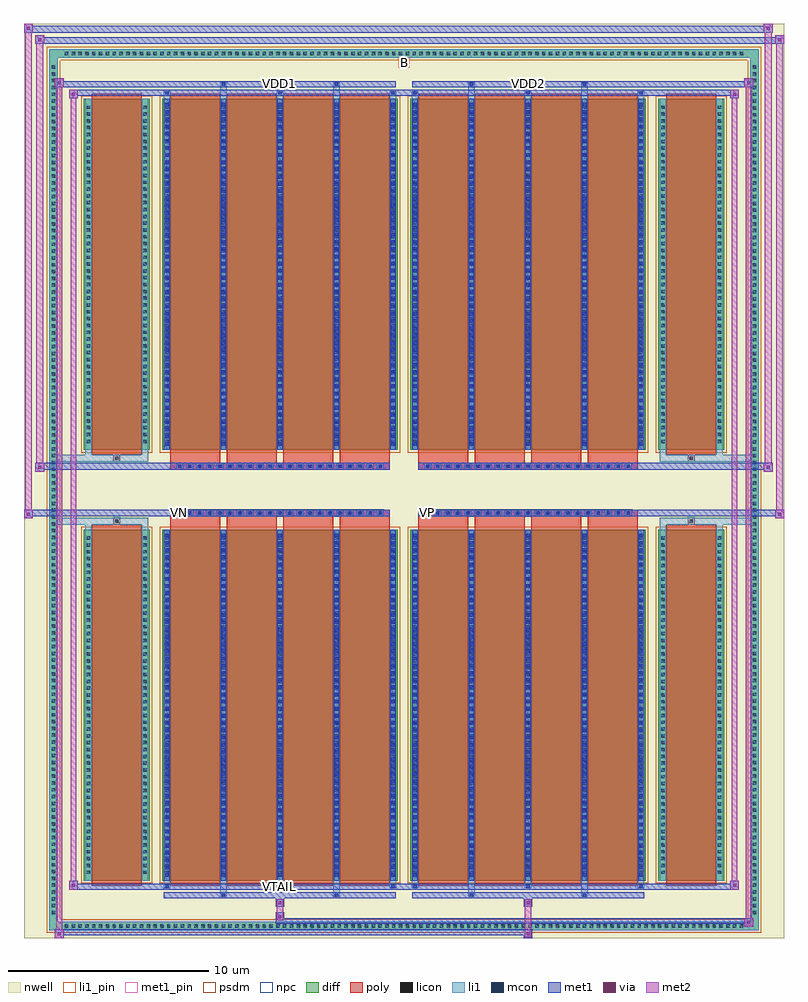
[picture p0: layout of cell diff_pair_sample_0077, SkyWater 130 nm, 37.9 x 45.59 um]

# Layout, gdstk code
import gdstk
lib = gdstk.Library(unit=1e-6, precision=5e-09)
def R(c, l, rs):  # rectangles x0, y0, x1, y1
    for r in rs: c.add(gdstk.rectangle(r[:2], r[2:], *l))
def A(c, l, x, y, w, h, nx, ny, dx, dy):  # array of equal rectangles
    R(c, l, [(x+i*dx, y+j*dy, x+i*dx+w, y+j*dy+h) for i in range(nx) for j in range(ny)])
def P(c, l, *ps):  # polygons
    for p in ps: c.add(gdstk.Polygon(p, *l))
nwell = (64, 20)
diff = (65, 20)
poly = (66, 20)
licon = (66, 44)
li1_pin = (67, 16)
li1 = (67, 20)
mcon = (67, 44)
met1_pin = (68, 16)
met1 = (68, 20)
via = (68, 44)
met2 = (69, 20)
psdm = (94, 20)
npc = (95, 20)

diff_pair_sample_0077 = lib.new_cell('diff_pair_sample_0077')
R(diff_pair_sample_0077, nwell, [(-18.95,-22.36,18.95,23.23), (-16.27,-20.55,-0.01,-0.805), (0.01,-20.55,16.27,-0.805), (-16.27,0.805,-0.01,20.55), (0.01,0.805,16.27,20.55)])
A(diff_pair_sample_0077, diff, -17.035, -21.96, 0.41, 0.41, 100, 2, 0.34, 43.51)
A(diff_pair_sample_0077, diff, -17.68, -21.285, 0.41, 0.41, 1, 125, 0, 0.34)
A(diff_pair_sample_0077, diff, 17.27, -21.285, 0.41, 0.41, 1, 125, 0, 0.34)
R(diff_pair_sample_0077, diff, [(-17.035,-21.96,17.035,-21.55), (-17.68,-21.285,-17.27,21.285), (17.27,-21.285,17.68,21.285), (-15.96,-19.505,-12.69,-1.985), (-12.05,-19.505,-0.32,-1.985), (0.32,-19.505,12.05,-1.985), (12.69,-19.505,15.96,-1.985), (-15.96,1.985,-12.69,19.505), (-12.05,1.985,-0.32,19.505), (0.32,1.985,12.05,19.505), (12.69,1.985,15.96,19.505), (-17.035,21.55,17.035,21.96)])
P(diff_pair_sample_0077, diff, [(17.68,21.96),(-17.68,21.96),(-17.68,-21.55),(-17.27,-21.55),(-17.27,21.55),(17.27,21.55),(17.27,-21.55),(-17.27,-21.55),(-17.68,-21.55),(-17.68,-21.96),(17.68,-21.96)])
A(diff_pair_sample_0077, poly, -11.66, -19.755, 2.49, 18.02, 4, 2, 2.82, 21.49)
A(diff_pair_sample_0077, poly, 0.71, -19.755, 2.49, 18.02, 4, 2, 2.82, 21.49)
A(diff_pair_sample_0077, poly, -11.66, -1.735, 2.49, 0.4, 4, 2, 2.82, 3.07)
A(diff_pair_sample_0077, poly, 0.71, -1.735, 2.49, 0.4, 4, 2, 2.82, 3.07)
A(diff_pair_sample_0077, poly, -11.35, -1.335, 0.33, 0.33, 21, 2, 0.5, 2.34)
A(diff_pair_sample_0077, poly, 1.02, -1.335, 0.33, 0.33, 21, 2, 0.5, 2.34)
R(diff_pair_sample_0077, poly, [(-15.57,-19.755,-13.08,-1.735), (13.08,-19.755,15.57,-1.735), (-14.49,-1.735,-14.16,-1.405), (-14.49,-1.735,-14.16,-1.405), (14.16,-1.735,14.49,-1.405), (14.16,-1.735,14.49,-1.405), (-11.66,-1.335,-0.71,-1.005), (0.71,-1.335,11.66,-1.005), (-11.66,1.005,-0.71,1.335), (0.71,1.005,11.66,1.335), (-14.49,1.405,-14.16,1.735), (-14.49,1.405,-14.16,1.735), (14.16,1.405,14.49,1.735), (14.16,1.405,14.49,1.735), (-15.57,1.735,-13.08,19.755), (13.08,1.735,15.57,19.755)])
A(diff_pair_sample_0077, licon, -16.915, -21.84, 0.17, 0.17, 100, 2, 0.34, 43.51)
A(diff_pair_sample_0077, licon, -17.56, -21.165, 0.17, 0.17, 1, 125, 0, 0.34)
A(diff_pair_sample_0077, licon, 17.39, -21.165, 0.17, 0.17, 1, 125, 0, 0.34)
A(diff_pair_sample_0077, licon, -15.82, -19.16, 0.17, 0.17, 1, 50, 0, 0.34)
A(diff_pair_sample_0077, licon, -13, -19.16, 0.17, 0.17, 1, 50, 0, 0.34)
A(diff_pair_sample_0077, licon, -11.91, -19.16, 0.17, 0.17, 5, 50, 2.82, 0.34)
A(diff_pair_sample_0077, licon, 0.46, -19.16, 0.17, 0.17, 5, 50, 2.82, 0.34)
A(diff_pair_sample_0077, licon, 12.83, -19.16, 0.17, 0.17, 1, 50, 0, 0.34)
A(diff_pair_sample_0077, licon, 15.65, -19.16, 0.17, 0.17, 1, 50, 0, 0.34)
A(diff_pair_sample_0077, licon, -11.27, -1.255, 0.17, 0.17, 21, 2, 0.5, 2.34)
A(diff_pair_sample_0077, licon, 1.1, -1.255, 0.17, 0.17, 21, 2, 0.5, 2.34)
A(diff_pair_sample_0077, licon, -15.82, 2.33, 0.17, 0.17, 1, 50, 0, 0.34)
A(diff_pair_sample_0077, licon, -13, 2.33, 0.17, 0.17, 1, 50, 0, 0.34)
A(diff_pair_sample_0077, licon, -11.91, 2.33, 0.17, 0.17, 5, 50, 2.82, 0.34)
A(diff_pair_sample_0077, licon, 0.46, 2.33, 0.17, 0.17, 5, 50, 2.82, 0.34)
A(diff_pair_sample_0077, licon, 12.83, 2.33, 0.17, 0.17, 1, 50, 0, 0.34)
A(diff_pair_sample_0077, licon, 15.65, 2.33, 0.17, 0.17, 1, 50, 0, 0.34)
R(diff_pair_sample_0077, licon, [(-14.41,-1.655,-14.24,-1.485), (14.24,-1.655,14.41,-1.485), (-14.41,1.485,-14.24,1.655), (14.24,1.485,14.41,1.655)])
R(diff_pair_sample_0077, li1_pin, [(-0.25,21.05,0.25,21.55)])
A(diff_pair_sample_0077, li1, -16.995, -21.92, 0.33, 0.33, 100, 2, 0.34, 43.51)
A(diff_pair_sample_0077, li1, -17.64, -21.245, 0.33, 0.33, 1, 125, 0, 0.34)
A(diff_pair_sample_0077, li1, 17.31, -21.245, 0.33, 0.33, 1, 125, 0, 0.34)
A(diff_pair_sample_0077, li1, -11.99, -19.88, 0.33, 0.375, 3, 2, 5.64, 39.385)
A(diff_pair_sample_0077, li1, -11.91, -19.88, 0.17, 0.17, 3, 2, 5.64, 39.59)
A(diff_pair_sample_0077, li1, 0.38, -19.88, 0.33, 0.375, 3, 2, 5.64, 39.385)
A(diff_pair_sample_0077, li1, 0.46, -19.88, 0.17, 0.17, 3, 2, 5.64, 39.59)
A(diff_pair_sample_0077, li1, -11.99, -19.505, 0.33, 17.52, 5, 2, 2.82, 21.49)
A(diff_pair_sample_0077, li1, 0.38, -19.505, 0.33, 17.52, 5, 2, 2.82, 21.49)
A(diff_pair_sample_0077, li1, -11.91, -19.29, 0.17, 0.17, 5, 48, 2.82, 0.36)
A(diff_pair_sample_0077, li1, -11.91, -19.29, 0.17, 17.09, 5, 2, 2.82, 21.49)
A(diff_pair_sample_0077, li1, 0.46, -19.29, 0.17, 0.17, 5, 48, 2.82, 0.36)
A(diff_pair_sample_0077, li1, 0.46, -19.29, 0.17, 17.09, 5, 2, 2.82, 21.49)
A(diff_pair_sample_0077, li1, -15.9, -19.24, 0.33, 0.33, 1, 50, 0, 0.34)
A(diff_pair_sample_0077, li1, -13.08, -19.24, 0.33, 0.33, 1, 50, 0, 0.34)
A(diff_pair_sample_0077, li1, -11.99, -19.24, 0.33, 0.33, 5, 50, 2.82, 0.34)
A(diff_pair_sample_0077, li1, 0.38, -19.24, 0.33, 0.33, 5, 50, 2.82, 0.34)
A(diff_pair_sample_0077, li1, 12.75, -19.24, 0.33, 0.33, 1, 50, 0, 0.34)
A(diff_pair_sample_0077, li1, 15.57, -19.24, 0.33, 0.33, 1, 50, 0, 0.34)
A(diff_pair_sample_0077, li1, -11.35, -1.335, 0.33, 0.33, 21, 2, 0.5, 2.34)
A(diff_pair_sample_0077, li1, 1.02, -1.335, 0.33, 0.33, 21, 2, 0.5, 2.34)
A(diff_pair_sample_0077, li1, -11.91, 2.2, 0.17, 0.17, 5, 48, 2.82, 0.36)
A(diff_pair_sample_0077, li1, 0.46, 2.2, 0.17, 0.17, 5, 48, 2.82, 0.36)
A(diff_pair_sample_0077, li1, -15.9, 2.25, 0.33, 0.33, 1, 50, 0, 0.34)
A(diff_pair_sample_0077, li1, -13.08, 2.25, 0.33, 0.33, 1, 50, 0, 0.34)
A(diff_pair_sample_0077, li1, -11.99, 2.25, 0.33, 0.33, 5, 50, 2.82, 0.34)
A(diff_pair_sample_0077, li1, 0.38, 2.25, 0.33, 0.33, 5, 50, 2.82, 0.34)
A(diff_pair_sample_0077, li1, 12.75, 2.25, 0.33, 0.33, 1, 50, 0, 0.34)
A(diff_pair_sample_0077, li1, 15.57, 2.25, 0.33, 0.33, 1, 50, 0, 0.34)
R(diff_pair_sample_0077, li1, [(-17.68,-21.96,-17.27,-21.55), (-17.68,-21.96,-17.27,-21.55), (-17.27,-21.96,17.27,-21.55), (17.27,-21.96,17.68,-21.55), (17.27,-21.96,17.68,-21.55), (-17.68,-21.55,-17.27,21.55), (17.27,-21.55,17.68,21.55), (-9.17,-20.31,-8.84,-19.505), (-9.09,-20.31,-8.92,-20.14), (-3.53,-20.31,-3.2,-19.505), (-3.45,-20.31,-3.28,-20.14), (3.2,-20.31,3.53,-19.505), (3.28,-20.31,3.45,-20.14), (8.84,-20.31,9.17,-19.505), (8.92,-20.31,9.09,-20.14), (-15.9,-19.505,-15.57,-1.985), (-13.08,-19.505,-12.75,-1.985), (12.75,-19.505,13.08,-1.985), (15.57,-19.505,15.9,-1.985), (-15.9,-1.985,-15.57,-1.405), (-13.08,-1.985,-12.75,-1.405), (12.75,-1.985,13.08,-1.405), (15.57,-1.985,15.9,-1.405), (-17.68,-1.735,-14.49,-1.405), (-15.9,-1.735,-14.49,-1.405), (-14.49,-1.735,-14.16,-1.405), (-14.16,-1.735,-12.75,-1.405), (12.75,-1.735,14.16,-1.405), (14.16,-1.735,14.49,-1.405), (14.16,-1.735,17.68,-1.405), (14.49,-1.735,15.9,-1.405), (-17.68,1.405,-14.49,1.735), (-15.9,1.405,-14.49,1.735), (-15.9,1.405,-15.57,1.985), (-14.49,1.405,-14.16,1.735), (-14.16,1.405,-12.75,1.735), (-13.08,1.405,-12.75,1.985), (12.75,1.405,14.16,1.735), (12.75,1.405,13.08,1.985), (14.16,1.405,14.49,1.735), (14.16,1.405,17.68,1.735), (14.49,1.405,15.9,1.735), (15.57,1.405,15.9,1.985), (-15.9,1.985,-15.57,19.505), (-13.08,1.985,-12.75,19.505), (12.75,1.985,13.08,19.505), (15.57,1.985,15.9,19.505), (-9.17,19.505,-8.84,20.31), (-3.53,19.505,-3.2,20.31), (3.2,19.505,3.53,20.31), (8.84,19.505,9.17,20.31), (-9.09,20.14,-8.92,20.31), (-3.45,20.14,-3.28,20.31), (3.28,20.14,3.45,20.31), (8.92,20.14,9.09,20.31), (-17.68,21.55,-17.27,21.96), (-17.68,21.55,-17.27,21.96), (-17.27,21.55,17.27,21.96), (17.27,21.55,17.68,21.96), (17.27,21.55,17.68,21.96)])
A(diff_pair_sample_0077, mcon, -11.91, -19.88, 0.17, 0.17, 3, 2, 5.64, 39.59)
A(diff_pair_sample_0077, mcon, 0.46, -19.88, 0.17, 0.17, 3, 2, 5.64, 39.59)
A(diff_pair_sample_0077, mcon, -11.91, -19.29, 0.17, 0.17, 5, 48, 2.82, 0.36)
A(diff_pair_sample_0077, mcon, 0.46, -19.29, 0.17, 0.17, 5, 48, 2.82, 0.36)
A(diff_pair_sample_0077, mcon, -11.27, -1.255, 0.17, 0.17, 21, 2, 0.5, 2.34)
A(diff_pair_sample_0077, mcon, 1.1, -1.255, 0.17, 0.17, 21, 2, 0.5, 2.34)
A(diff_pair_sample_0077, mcon, -11.91, 2.2, 0.17, 0.17, 5, 48, 2.82, 0.36)
A(diff_pair_sample_0077, mcon, 0.46, 2.2, 0.17, 0.17, 5, 48, 2.82, 0.36)
R(diff_pair_sample_0077, mcon, [(-9.09,-20.31,-8.92,-20.14), (-3.45,-20.31,-3.28,-20.14), (3.28,-20.31,3.45,-20.14), (8.92,-20.31,9.09,-20.14), (-9.09,20.14,-8.92,20.31), (-3.45,20.14,-3.28,20.31), (3.28,20.14,3.45,20.31), (8.92,20.14,9.09,20.31)])
R(diff_pair_sample_0077, met1_pin, [(-6.32,-19.92,-6.05,-19.65), (-11.32,-1.295,-11.05,-1.025), (1.05,-1.295,1.32,-1.025), (-6.32,20.1,-6.05,20.37), (6.05,20.1,6.32,20.37)])
A(diff_pair_sample_0077, met1, -11.97, -19.94, 0.29, 0.29, 3, 2, 5.64, 39.59)
A(diff_pair_sample_0077, met1, 0.4, -19.94, 0.29, 0.29, 3, 2, 5.64, 39.59)
A(diff_pair_sample_0077, met1, -11.97, -19.505, 0.29, 17.52, 5, 2, 2.82, 21.49)
A(diff_pair_sample_0077, met1, 0.4, -19.505, 0.29, 17.52, 5, 2, 2.82, 21.49)
A(diff_pair_sample_0077, met1, -11.97, -19.35, 0.29, 0.29, 5, 48, 2.82, 0.36)
A(diff_pair_sample_0077, met1, 0.4, -19.35, 0.29, 0.29, 5, 48, 2.82, 0.36)
A(diff_pair_sample_0077, met1, -11.33, -1.315, 0.29, 0.29, 21, 2, 0.5, 2.34)
A(diff_pair_sample_0077, met1, 1.04, -1.315, 0.29, 0.29, 21, 2, 0.5, 2.34)
A(diff_pair_sample_0077, met1, -11.97, 2.14, 0.29, 0.29, 5, 48, 2.82, 0.36)
A(diff_pair_sample_0077, met1, 0.4, 2.14, 0.29, 0.29, 5, 48, 2.82, 0.36)
R(diff_pair_sample_0077, met1, [(-17.41,-22.36,-16.98,-21.93), (5.97,-22.36,6.4,-21.93), (-17.41,-22.22,6.4,-21.93), (16.98,-21.79,17.41,-21.36), (-6.4,-21.65,17.41,-21.36), (-6.4,-21.51,-5.97,-21.08), (-6.4,-20.8,-5.97,-20.37), (5.97,-20.8,6.4,-20.37), (-11.97,-20.37,-0.4,-20.08), (-9.15,-20.37,-8.86,-20.08), (-3.51,-20.37,-3.22,-20.08), (0.4,-20.37,11.97,-20.08), (3.22,-20.37,3.51,-20.08), (8.86,-20.37,9.15,-20.08), (-16.7,-19.94,-16.27,-19.51), (-16.7,-19.94,-11.97,-19.65), (-11.97,-19.94,-0.4,-19.65), (-0.4,-19.94,0.4,-19.65), (0.4,-19.94,11.97,-19.65), (11.97,-19.94,16.7,-19.65), (16.27,-19.94,16.7,-19.51), (-18.95,-1.435,-18.52,-1.005), (18.52,-1.435,18.95,-1.005), (-18.95,-1.335,-0.71,-1.005), (-11.66,-1.335,-0.71,-1.005), (0.71,-1.335,11.66,-1.005), (0.71,-1.335,18.95,-1.005), (-18.38,0.905,-17.95,1.335), (17.95,0.905,18.38,1.335), (-18.38,1.005,-11.66,1.335), (-11.66,1.005,-0.71,1.335), (0.71,1.005,11.66,1.335), (11.66,1.005,18.38,1.335), (-16.7,19.51,-16.27,19.94), (16.27,19.51,16.7,19.94), (-16.7,19.65,-11.97,19.94), (-11.97,19.65,-0.4,19.94), (-0.4,19.65,0.4,19.94), (0.4,19.65,11.97,19.94), (11.97,19.65,16.7,19.94), (-17.41,20.08,-16.98,20.51), (-17.41,20.08,-11.97,20.37), (-11.97,20.08,-0.4,20.37), (-9.15,20.08,-8.86,20.37), (-3.51,20.08,-3.22,20.37), (0.4,20.08,11.97,20.37), (3.22,20.08,3.51,20.37), (8.86,20.08,9.15,20.37), (11.97,20.08,17.41,20.37), (16.98,20.08,17.41,20.51), (-18.38,22.23,-17.95,22.66), (-18.38,22.23,-16.27,22.56), (-16.27,22.23,16.27,22.56), (16.27,22.23,18.95,22.56), (18.52,22.23,18.95,22.66), (-18.95,22.8,-18.52,23.23), (-18.95,22.8,-16.27,23.13), (-16.27,22.8,16.27,23.13), (16.27,22.8,18.38,23.13), (17.95,22.8,18.38,23.23)])
R(diff_pair_sample_0077, via, [(-17.27,-22.22,-17.12,-22.07), (6.11,-22.22,6.26,-22.07), (17.12,-21.65,17.27,-21.5), (-6.26,-21.37,-6.11,-21.22), (-6.26,-20.66,-6.11,-20.51), (6.11,-20.66,6.26,-20.51), (-16.56,-19.8,-16.41,-19.65), (16.41,-19.8,16.56,-19.65), (-18.81,-1.295,-18.66,-1.145), (18.66,-1.295,18.81,-1.145), (-18.24,1.045,-18.09,1.195), (18.09,1.045,18.24,1.195), (-16.56,19.65,-16.41,19.8), (16.41,19.65,16.56,19.8), (-17.27,20.22,-17.12,20.37), (17.12,20.22,17.27,20.37), (-18.24,22.37,-18.09,22.52), (18.66,22.37,18.81,22.52), (-18.81,22.94,-18.66,23.09), (18.09,22.94,18.24,23.09)])
R(diff_pair_sample_0077, met2, [(-17.41,-22.36,-16.98,-21.93), (-17.34,-22.36,-17.05,20.51), (-17.05,-22.36,-16.98,-21.93), (-17.36,-22.31,-17.03,-21.98), (6.02,-22.31,6.35,-21.98), (6.02,-21.98,6.35,-20.75), (16.98,-21.79,17.41,-21.36), (17.05,-21.79,17.34,20.51), (17.34,-21.79,17.41,-21.36), (17.03,-21.74,17.36,-21.41), (-6.35,-21.46,-6.02,-21.13), (-6.35,-21.13,-6.02,-20.75), (-6.35,-20.75,-6.02,-20.42), (6.02,-20.75,6.35,-20.42), (-16.7,-19.94,-16.27,-19.51), (-16.63,-19.94,-16.34,19.94), (-16.34,-19.94,-16.27,-19.51), (16.27,-19.94,16.7,-19.51), (16.34,-19.94,16.63,19.94), (16.63,-19.94,16.7,-19.51), (-16.65,-19.89,-16.32,-19.56), (16.32,-19.89,16.65,-19.56), (-18.95,-1.435,-18.52,-1.005), (-18.9,-1.435,-18.57,23.23), (-18.57,-1.435,-18.52,-1.005), (18.52,-1.435,18.95,-1.005), (18.57,-1.435,18.9,22.66), (18.9,-1.435,18.95,-1.005), (-18.9,-1.385,-18.57,-1.055), (18.57,-1.385,18.9,-1.055), (-18.38,0.905,-17.95,1.335), (-18.33,0.905,-18,22.66), (-18,0.905,-17.95,1.335), (17.95,0.905,18.38,1.335), (18,0.905,18.33,23.23), (18.33,0.905,18.38,1.335), (-18.33,0.955,-18,1.285), (18,0.955,18.33,1.285), (-16.7,19.51,-16.27,19.94), (-16.34,19.51,-16.27,19.94), (16.27,19.51,16.7,19.94), (16.63,19.51,16.7,19.94), (-16.65,19.56,-16.32,19.89), (16.32,19.56,16.65,19.89), (-17.41,20.08,-16.98,20.51), (-17.05,20.08,-16.98,20.51), (16.98,20.08,17.41,20.51), (17.34,20.08,17.41,20.51), (-17.36,20.13,-17.03,20.46), (17.03,20.13,17.36,20.46), (-18.38,22.23,-17.95,22.66), (-18,22.23,-17.95,22.66), (18.52,22.23,18.95,22.66), (18.9,22.23,18.95,22.66), (-18.33,22.28,-18,22.61), (18.57,22.28,18.9,22.61), (-18.95,22.8,-18.52,23.23), (-18.57,22.8,-18.52,23.23), (17.95,22.8,18.38,23.23), (18.33,22.8,18.38,23.23), (-18.9,22.85,-18.57,23.18), (18,22.85,18.33,23.18)])
R(diff_pair_sample_0077, psdm, [(-16.09,-19.635,-12.56,-1.855), (-12.18,-19.635,-0.19,-1.855), (0.19,-19.635,12.18,-1.855), (12.56,-19.635,16.09,-1.855), (-16.09,1.855,-12.56,19.635), (-12.18,1.855,-0.19,19.635), (0.19,1.855,12.18,19.635), (12.56,1.855,16.09,19.635)])
P(diff_pair_sample_0077, psdm, [(17.81,22.09),(-17.81,22.09),(-17.81,-21.42),(-17.14,-21.42),(-17.14,21.42),(17.14,21.42),(17.14,-21.42),(-17.14,-21.42),(-17.81,-21.42),(-17.81,-22.09),(17.81,-22.09)])
A(diff_pair_sample_0077, npc, -11.37, -1.355, 0.37, 0.37, 21, 2, 0.5, 2.34)
A(diff_pair_sample_0077, npc, 1, -1.355, 0.37, 0.37, 21, 2, 0.5, 2.34)
R(diff_pair_sample_0077, npc, [(-14.51,-1.755,-14.14,-1.385), (14.14,-1.755,14.51,-1.385), (-11.37,-1.355,-10.5,-0.985), (-11.37,-1.355,-10.5,-0.985), (-10.87,-1.355,-10,-0.985), (-10.87,-1.355,-10,-0.985), (-10.37,-1.355,-9.5,-0.985), (-10.37,-1.355,-9.5,-0.985), (-9.87,-1.355,-9,-0.985), (-9.87,-1.355,-9,-0.985), (-9.37,-1.355,-8.5,-0.985), (-9.37,-1.355,-8.5,-0.985), (-8.87,-1.355,-8,-0.985), (-8.87,-1.355,-8,-0.985), (-8.37,-1.355,-7.5,-0.985), (-8.37,-1.355,-7.5,-0.985), (-7.87,-1.355,-7,-0.985), (-7.87,-1.355,-7,-0.985), (-7.37,-1.355,-6.5,-0.985), (-7.37,-1.355,-6.5,-0.985), (-6.87,-1.355,-6,-0.985), (-6.87,-1.355,-6,-0.985), (-6.37,-1.355,-5.5,-0.985), (-6.37,-1.355,-5.5,-0.985), (-5.87,-1.355,-5,-0.985), (-5.87,-1.355,-5,-0.985), (-5.37,-1.355,-4.5,-0.985), (-5.37,-1.355,-4.5,-0.985), (-4.87,-1.355,-4,-0.985), (-4.87,-1.355,-4,-0.985), (-4.37,-1.355,-3.5,-0.985), (-4.37,-1.355,-3.5,-0.985), (-3.87,-1.355,-3,-0.985), (-3.87,-1.355,-3,-0.985), (-3.37,-1.355,-2.5,-0.985), (-3.37,-1.355,-2.5,-0.985), (-2.87,-1.355,-2,-0.985), (-2.87,-1.355,-2,-0.985), (-2.37,-1.355,-1.5,-0.985), (-2.37,-1.355,-1.5,-0.985), (-1.87,-1.355,-1,-0.985), (-1.87,-1.355,-1,-0.985), (1,-1.355,1.87,-0.985), (1,-1.355,1.87,-0.985), (1.5,-1.355,2.37,-0.985), (1.5,-1.355,2.37,-0.985), (2,-1.355,2.87,-0.985), (2,-1.355,2.87,-0.985), (2.5,-1.355,3.37,-0.985), (2.5,-1.355,3.37,-0.985), (3,-1.355,3.87,-0.985), (3,-1.355,3.87,-0.985), (3.5,-1.355,4.37,-0.985), (3.5,-1.355,4.37,-0.985), (4,-1.355,4.87,-0.985), (4,-1.355,4.87,-0.985), (4.5,-1.355,5.37,-0.985), (4.5,-1.355,5.37,-0.985), (5,-1.355,5.87,-0.985), (5,-1.355,5.87,-0.985), (5.5,-1.355,6.37,-0.985), (5.5,-1.355,6.37,-0.985), (6,-1.355,6.87,-0.985), (6,-1.355,6.87,-0.985), (6.5,-1.355,7.37,-0.985), (6.5,-1.355,7.37,-0.985), (7,-1.355,7.87,-0.985), (7,-1.355,7.87,-0.985), (7.5,-1.355,8.37,-0.985), (7.5,-1.355,8.37,-0.985), (8,-1.355,8.87,-0.985), (8,-1.355,8.87,-0.985), (8.5,-1.355,9.37,-0.985), (8.5,-1.355,9.37,-0.985), (9,-1.355,9.87,-0.985), (9,-1.355,9.87,-0.985), (9.5,-1.355,10.37,-0.985), (9.5,-1.355,10.37,-0.985), (10,-1.355,10.87,-0.985), (10,-1.355,10.87,-0.985), (10.5,-1.355,11.37,-0.985), (10.5,-1.355,11.37,-0.985), (-11.37,0.985,-10.5,1.355), (-11.37,0.985,-10.5,1.355), (-10.87,0.985,-10,1.355), (-10.87,0.985,-10,1.355), (-10.37,0.985,-9.5,1.355), (-10.37,0.985,-9.5,1.355), (-9.87,0.985,-9,1.355), (-9.87,0.985,-9,1.355), (-9.37,0.985,-8.5,1.355), (-9.37,0.985,-8.5,1.355), (-8.87,0.985,-8,1.355), (-8.87,0.985,-8,1.355), (-8.37,0.985,-7.5,1.355), (-8.37,0.985,-7.5,1.355), (-7.87,0.985,-7,1.355), (-7.87,0.985,-7,1.355), (-7.37,0.985,-6.5,1.355), (-7.37,0.985,-6.5,1.355), (-6.87,0.985,-6,1.355), (-6.87,0.985,-6,1.355), (-6.37,0.985,-5.5,1.355), (-6.37,0.985,-5.5,1.355), (-5.87,0.985,-5,1.355), (-5.87,0.985,-5,1.355), (-5.37,0.985,-4.5,1.355), (-5.37,0.985,-4.5,1.355), (-4.87,0.985,-4,1.355), (-4.87,0.985,-4,1.355), (-4.37,0.985,-3.5,1.355), (-4.37,0.985,-3.5,1.355), (-3.87,0.985,-3,1.355), (-3.87,0.985,-3,1.355), (-3.37,0.985,-2.5,1.355), (-3.37,0.985,-2.5,1.355), (-2.87,0.985,-2,1.355), (-2.87,0.985,-2,1.355), (-2.37,0.985,-1.5,1.355), (-2.37,0.985,-1.5,1.355), (-1.87,0.985,-1,1.355), (-1.87,0.985,-1,1.355), (1,0.985,1.87,1.355), (1,0.985,1.87,1.355), (1.5,0.985,2.37,1.355), (1.5,0.985,2.37,1.355), (2,0.985,2.87,1.355), (2,0.985,2.87,1.355), (2.5,0.985,3.37,1.355), (2.5,0.985,3.37,1.355), (3,0.985,3.87,1.355), (3,0.985,3.87,1.355), (3.5,0.985,4.37,1.355), (3.5,0.985,4.37,1.355), (4,0.985,4.87,1.355), (4,0.985,4.87,1.355), (4.5,0.985,5.37,1.355), (4.5,0.985,5.37,1.355), (5,0.985,5.87,1.355), (5,0.985,5.87,1.355), (5.5,0.985,6.37,1.355), (5.5,0.985,6.37,1.355), (6,0.985,6.87,1.355), (6,0.985,6.87,1.355), (6.5,0.985,7.37,1.355), (6.5,0.985,7.37,1.355), (7,0.985,7.87,1.355), (7,0.985,7.87,1.355), (7.5,0.985,8.37,1.355), (7.5,0.985,8.37,1.355), (8,0.985,8.87,1.355), (8,0.985,8.87,1.355), (8.5,0.985,9.37,1.355), (8.5,0.985,9.37,1.355), (9,0.985,9.87,1.355), (9,0.985,9.87,1.355), (9.5,0.985,10.37,1.355), (9.5,0.985,10.37,1.355), (10,0.985,10.87,1.355), (10,0.985,10.87,1.355), (10.5,0.985,11.37,1.355), (10.5,0.985,11.37,1.355), (-14.51,1.385,-14.14,1.755), (14.14,1.385,14.51,1.755)])
diff_pair_sample_0077.add(gdstk.Label('VTAIL', (-6.185,-19.785), layer=68, texttype=5))
diff_pair_sample_0077.add(gdstk.Label('VN', (-11.185,-1.16), layer=68, texttype=5))
diff_pair_sample_0077.add(gdstk.Label('VP', (1.185,-1.16), layer=68, texttype=5))
diff_pair_sample_0077.add(gdstk.Label('B', (0,21.3), layer=67, texttype=5))
diff_pair_sample_0077.add(gdstk.Label('VDD2', (6.185,20.235), layer=68, texttype=5))
diff_pair_sample_0077.add(gdstk.Label('VDD1', (-6.185,20.235), layer=68, texttype=5))

lib.write_gds('diff_pair_sample_0077.gds')
